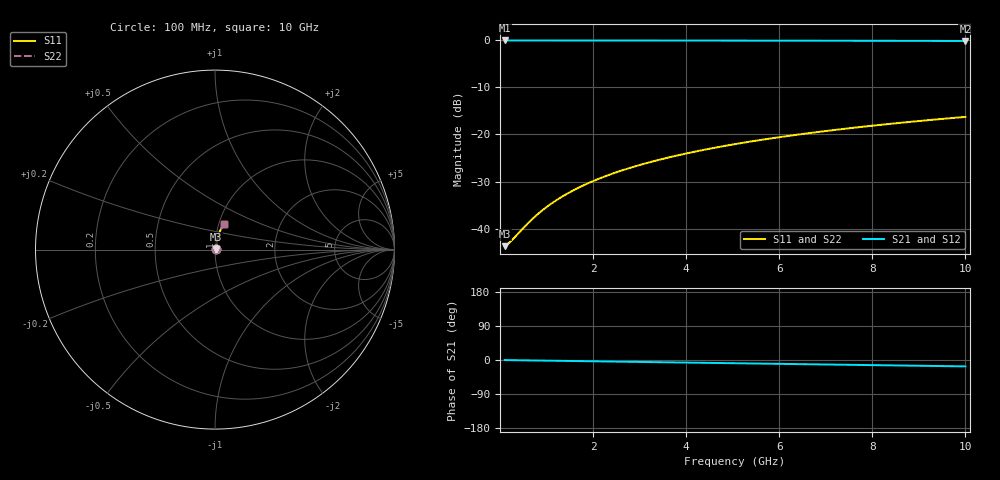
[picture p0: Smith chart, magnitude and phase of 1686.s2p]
# Hz S RI R 50.00
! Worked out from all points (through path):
!   100 points, 100 MHz to 10 GHz, reference 50 ohm
!   highest |S21| = -0.06 dB at 100 MHz (marker M1); lowest = -0.2 dB at 10 GHz (marker M2)
!   group delay of S21, straight-line fit = 4.68 ps
!   lowest |S11| = -43.7 dB at 100 MHz (marker M3), VSWR 1.01, Z = 50.6 + j0.157 ohm
!   |S11| at or under -10 dB: start of sweep to end of sweep
!   |S22| runs from -43.7 to -16.3 dB; largest |S21 - S12| = 0
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1e8  0.00636 0.00155  0.9936 -0.00294  0.9936 -0.00294  0.00636 0.00155
2e8  0.00641 0.0031  0.9936 -0.00588  0.9936 -0.00588  0.00641 0.0031
3e8  0.00647 0.00465  0.9935 -0.00882  0.9935 -0.00882  0.00647 0.00465
6e8  0.00665 0.00929  0.9933 -0.0176  0.9933 -0.0176  0.00665 0.00929
7e8  0.00673 0.0108  0.9932 -0.0206  0.9932 -0.0206  0.00673 0.0108
8e8  0.00681 0.0124  0.9931 -0.0235  0.9931 -0.0235  0.00681 0.0124
1e9  0.00701 0.0155  0.9929 -0.0294  0.9929 -0.0294  0.00701 0.0155
1.2e9  0.00723 0.0186  0.9926 -0.0352  0.9926 -0.0352  0.00723 0.0186
1.4e9  0.00749 0.0217  0.9923 -0.0411  0.9923 -0.0411  0.00749 0.0217
1.6e9  0.00778 0.0247  0.9919 -0.047  0.9919 -0.047  0.00778 0.0247
1.8e9  0.00811 0.0278  0.9915 -0.0528  0.9915 -0.0528  0.00811 0.0278
2.1e9  0.00867 0.0324  0.9909 -0.0616  0.9909 -0.0616  0.00867 0.0324
2.5e9  0.00954 0.0385  0.9898 -0.0733  0.9898 -0.0733  0.00954 0.0385
2.9e9  0.0106 0.0446  0.9886 -0.085  0.9886 -0.085  0.0106 0.0446
3.4e9  0.012 0.0522  0.9868 -0.0995  0.9868 -0.0995  0.012 0.0522
4.2e9  0.0148 0.0643  0.9834 -0.1227  0.9834 -0.1227  0.0148 0.0643
5.1e9  0.0186 0.0776  0.9788 -0.1486  0.9788 -0.1486  0.0186 0.0776
5.9e9  0.0226 0.0892  0.9739 -0.1714  0.9739 -0.1714  0.0226 0.0892
6.7e9  0.0271 0.1007  0.9684 -0.194  0.9684 -0.194  0.0271 0.1007
7.5e9  0.0322 0.1119  0.9622 -0.2163  0.9622 -0.2163  0.0322 0.1119
8.4e9  0.0384 0.1241  0.9546 -0.2412  0.9546 -0.2412  0.0384 0.1241
1e10  0.0511 0.1449  0.939 -0.2844  0.939 -0.2844  0.0511 0.1449
